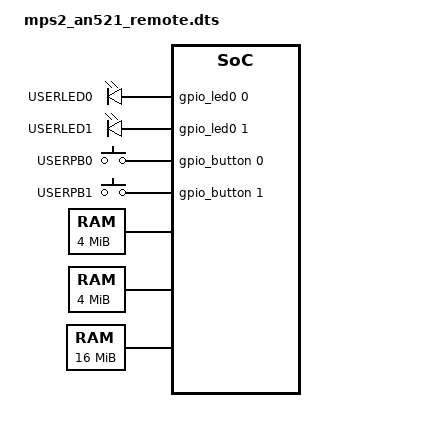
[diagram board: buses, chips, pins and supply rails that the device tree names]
/*
 * Copyright (c) 2018-2019 Linaro Limited
 *
 * SPDX-License-Identifier: Apache-2.0
 */

/dts-v1/;

#include <mem.h>
#include <arm/armv8-m.dtsi>
#include <zephyr/dt-bindings/i2c/i2c.h>

/ {
	compatible = "arm,mps2";
	#address-cells = <1>;
	#size-cells = <1>;

	aliases {
		led0 = &led_0;
		led1 = &led_1;
		sw0 = &user_button_0;
		sw1 = &user_button_1;
		watchdog0 = &wdog0;
	};

	chosen {
		zephyr,console = &uart0;
		zephyr,shell-uart = &uart0;
		zephyr,sram = &ram;
		zephyr,flash = &code;
	};

	leds {
		compatible = "gpio-leds";
		led_0: led_0 {
			gpios = <&gpio_led0 0>;
			label = "USERLED0";
		};
		led_1: led_1 {
			gpios = <&gpio_led0 1>;
			label = "USERLED1";
		};
	};

	gpio_keys {
		compatible = "gpio-keys";
		user_button_0: button_0 {
			label = "USERPB0";
			gpios = <&gpio_button 0>;
		};
		user_button_1: button_1 {
			label = "USERPB1";
			gpios = <&gpio_button 1>;
		};
	};

	cpus {
		#address-cells = <1>;
		#size-cells = <0>;

		cpu@0 {
			device_type = "cpu";
			compatible = "arm,cortex-m33";
			reg = <0>;
			#address-cells = <1>;
			#size-cells = <1>;

			mpu: mpu@e000ed90 {
				compatible = "arm,armv8m-mpu";
				reg = <0xe000ed90 0x40>;
				arm,num-mpu-regions = <16>;
			};
		};
	};

	/*
	 * The memory regions defined below are according to AN521:
	 * https://documentation-service.arm.com/static/5fa12fe9b1a7c5445f29017f
	 * Please see tables from 3-1 to 3-4.
	 */

	sram1: memory@0 {
		compatible = "zephyr,memory-region", "mmio-sram";
		reg = <0x0 DT_SIZE_M(4)>;
		zephyr,memory-region = "SRAM1";
	};

	sram2_3: memory@28000000 {
		compatible = "zephyr,memory-region", "mmio-sram";
		reg = <0x28000000 DT_SIZE_M(4)>;
		zephyr,memory-region = "SRAM2_3";
	};

	psram: memory@80000000 {
		device_type = "memory";
		reg = <0x80000000 DT_SIZE_M(16)>;
	};

	reserved-memory {
		#address-cells = <1>;
		#size-cells = <1>;
		ranges;

		/* The memory regions defined below are selected to remain
		 * compatible with what TF-M has defined for a single boot image,
		 * where 468 KB memory at the bottom of the 4 MB code region is
		 * marked as 'Unused'.
		 */

		code: memory@38B000 {
			reg = <0x0038B000 DT_SIZE_K(468)>;
		};

		ram: memory@28180000 {
			reg = <0x28180000 DT_SIZE_K(512)>;
		};
	};

	soc {
		peripheral@40000000 {
			#address-cells = <1>;
			#size-cells = <1>;
			ranges = <0x0 0x40000000 0x10000000>;

			#include "mps2_an521-common.dtsi"
		};
	};
};

&nvic {
	arm,num-irq-priority-bits = <3>;
};
